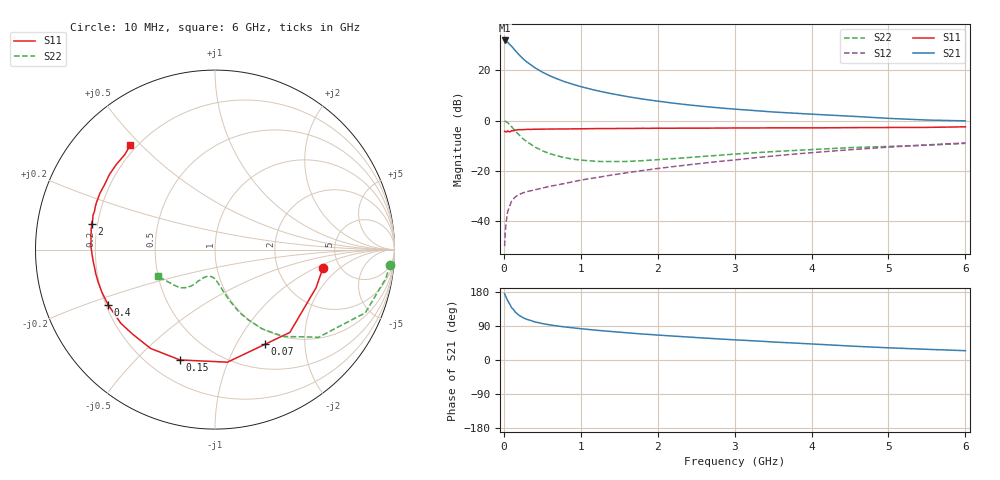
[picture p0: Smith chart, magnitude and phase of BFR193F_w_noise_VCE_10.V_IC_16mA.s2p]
! (c) 2017  Infineon Technologies AG, Munich
! Infineon Technologies  Discrete & RF Semiconductors
! BFR193F
! VCE =  10. V,  IC =  16 mA
! Common Emitter S-Parameters:  Jan 2017
# GHz  S  MA  R  50
!  f  S11  S21  S12  S22
! GHz  MAG  ANG  MAG  ANG  MAG  ANG  MAG  ANG
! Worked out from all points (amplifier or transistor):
!   77 points, 10 MHz to 6 GHz, reference 50 ohm
!   highest |S21| = 32.0 dB at 10 MHz (marker M1)
!   |S21| within 3 dB of that: start of sweep to 119.7 MHz
!   unconditionally stable (mu >= 1): 1.42 GHz to 2.769 GHz
!   at 130 MHz: K = 0.24, MSG = 29.9 dB, |S12| = -31.2 dB
!   at 2.2 GHz: K = 1.03, MAG = 11.6 dB, |S12| = -18.4 dB
!   at 6 GHz: K = 0.81, MSG = 4.4 dB, |S12| = -9.0 dB
!   lowest NFmin = 0.97 dB at 450 MHz
!   S11 on the Smith chart (normalised r, x): 10 MHz: 3.72, -1.21; 70 MHz: 0.81, -1.32; 150 MHz: 0.32, -0.68; 400 MHz: 0.21, -0.23; 2 GHz: 0.18, +0.10; 6 GHz: 0.17, +0.47
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0.01  0.6104 -9.6  39.72 175.0  0.0031 83.2  0.9781 -4.9
0.02  0.6017 -20.7  39.19 169.8  0.0064 81.8  0.9657 -9.5
0.05  0.622 -47.9  36.63 156.5  0.015 70.6  0.9085 -22.8
0.07  0.5965 -62.2  33.8 150.0  0.0186 64.2  0.8383 -29.0
0.1  0.631 -83.7  30.54 138.3  0.0243 58.2  0.7556 -40.3
0.15  0.645 -107.6  24.77 126.2  0.03 50.6  0.6157 -51.8
0.2  0.6573 -123.1  20.41 117.6  0.0335 45.8  0.5135 -59.3
0.25  0.6578 -134.2  17.1 111.6  0.0359 44.3  0.4324 -64.7
0.3  0.6664 -142.0  14.7 107.2  0.038 43.5  0.3766 -68.7
0.4  0.6701 -152.8  11.4 100.6  0.0413 44.7  0.2975 -73.9
0.5  0.6735 -159.5  9.259 96.2  0.0447 46.3  0.2494 -77.7
0.6  0.6758 -164.6  7.794 92.6  0.0487 49.2  0.2172 -80.6
0.7  0.678 -168.7  6.723 89.6  0.0519 50.9  0.1964 -83.4
0.9  0.6821 -174.6  5.276 84.8  0.0599 55.4  0.1692 -88.5
1.1  0.6873 -179.1  4.34 80.6  0.0687 59.0  0.1577 -93.3
1.5  0.6943 174.5  3.216 73.5  0.0859 63.8  0.1521 -102.2
2  0.7027 168.1  2.441 65.8  0.1104 67.6  0.1653 -111.1
2.1  0.7021 167.2  2.332 64.5  0.1152 68.0  0.1694 -112.1
3.1  0.7106 157.8  1.647 52.2  0.1698 70.6  0.219 -120.1
4.1  0.7151 148.4  1.316 41.3  0.2346 69.2  0.2678 -127.7
5.1  0.7264 138.0  1.088 31.4  0.3008 64.9  0.3072 -141.4
6  0.7496 129.0  0.986 24.6  0.3562 59.9  0.3495 -154.8
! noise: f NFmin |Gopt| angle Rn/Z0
0.45  0.97  0.28  157  0.06
0.9  1.06  0.38  161  0.06
1.9  1.7  0.58  -173  0.06
2.4  2  0.61  -163  0.09
